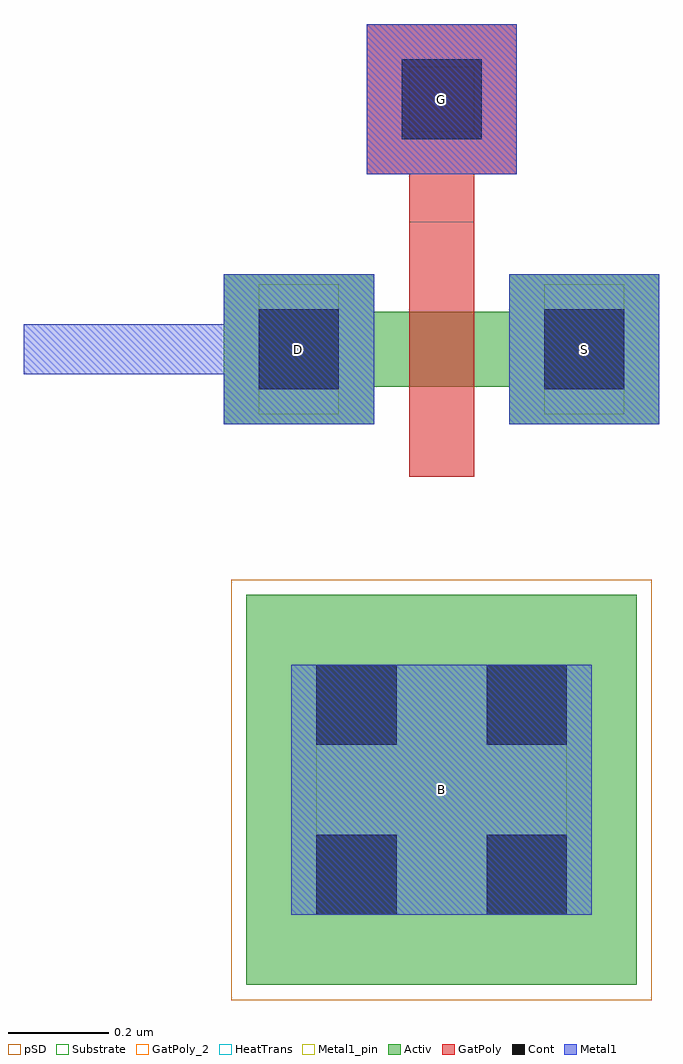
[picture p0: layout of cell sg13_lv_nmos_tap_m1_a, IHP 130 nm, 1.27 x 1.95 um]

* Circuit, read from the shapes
.subckt sg13_lv_nmos_tap_m1_a B D G S
XM1 S G D B sg13_lv_nmos w=0.15u l=0.13u
.ends

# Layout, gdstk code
from math import pi, radians
import gdstk
lib = gdstk.Library(unit=1e-6, precision=5e-09)
def R(c, l, rs):  # rectangles x0, y0, x1, y1
    for r in rs: c.add(gdstk.rectangle(r[:2], r[2:], *l))
Activ = (1, 0)
GatPoly = (5, 0)
GatPoly_2 = (5, 2)
Cont = (6, 0)
Metal1 = (8, 0)
Metal1_pin = (8, 2)
pSD = (14, 0)
Substrate = (40, 0)
HeatTrans = (51, 0)

nmos = lib.new_cell('nmos')
R(nmos, Activ, [(0,0,0.3,0.3), (0.57,0,0.87,0.3), (0,0.075,0.87,0.225)])
R(nmos, GatPoly, [(0.37,-0.105,0.5,0.405)])
R(nmos, GatPoly_2, [(0.37,-0.105,0.5,0.405)])
R(nmos, Cont, [(0.07,0.07,0.23,0.23), (0.64,0.07,0.8,0.23)])
R(nmos, Metal1, [(0.07,0.02,0.23,0.28), (0.64,0.02,0.8,0.28)])
R(nmos, Metal1_pin, [(0.07,0.02,0.23,0.28), (0.64,0.02,0.8,0.28)])
R(nmos, HeatTrans, [(0.37,-0.105,0.5,0.405)])
nmos.add(gdstk.Label('nmos', (0.435,0.15), layer=63, texttype=0))
nmos.add(gdstk.Label('nmos', (0.435,0.15), layer=51, texttype=0))

ptap1 = lib.new_cell('ptap1')
R(ptap1, Activ, [(0,0,0.78,0.78)])
R(ptap1, Cont, [(0.14,0.14,0.3,0.3), (0.48,0.14,0.64,0.3), (0.14,0.48,0.3,0.64), (0.48,0.48,0.64,0.64)])
R(ptap1, Metal1, [(0.14,0.09,0.64,0.69), (0.14,0.14,0.64,0.64)])
R(ptap1, Metal1_pin, [(0.14,0.14,0.64,0.64)])
R(ptap1, pSD, [(-0.03,-0.03,0.81,0.81)])
R(ptap1, Substrate, [(0,0,0.78,0.78)])
ptap1.add(gdstk.Label('sub!', (0.39,0.01), layer=63, texttype=0))
ptap1.add(gdstk.Label('sub!', (0.39,0.01), layer=40, texttype=0))

via = lib.new_cell('Via')
R(via, GatPoly, [(-0.15,-0.15,0.15,0.15)])
R(via, Cont, [(-0.08,-0.08,0.08,0.08)])
R(via, Metal1, [(-0.13,-0.08,0.13,0.08)])

sg13_lv_nmos_tap_m1_a = lib.new_cell('sg13_lv_nmos_tap_m1_a')
R(sg13_lv_nmos_tap_m1_a, GatPoly, [(0.37,0.405,0.5,0.5)])
R(sg13_lv_nmos_tap_m1_a, Metal1, [(0,0,0.3,0.3), (0.57,0,0.87,0.3), (-0.4,0.1,0,0.2), (0.285,0.5,0.585,0.8)])
R(sg13_lv_nmos_tap_m1_a, Metal1_pin, [(0.37,-0.795,0.5,-0.665), (0.085,0.085,0.215,0.215), (0.655,0.085,0.785,0.215), (0.37,0.585,0.5,0.715)])
sg13_lv_nmos_tap_m1_a.add(gdstk.Reference(nmos, (0,0)))
sg13_lv_nmos_tap_m1_a.add(gdstk.Reference(ptap1, (0.045,-0.34), rotation=3*pi/2))
sg13_lv_nmos_tap_m1_a.add(gdstk.Reference(via, (0.435,0.65), rotation=3*pi/2))
sg13_lv_nmos_tap_m1_a.add(gdstk.Label('G', (0.435,0.65), layer=8, texttype=25))
sg13_lv_nmos_tap_m1_a.add(gdstk.Label('B', (0.435,-0.73), layer=8, texttype=25))
sg13_lv_nmos_tap_m1_a.add(gdstk.Label('D', (0.15,0.15), layer=8, texttype=25))
sg13_lv_nmos_tap_m1_a.add(gdstk.Label('S', (0.72,0.15), layer=8, texttype=25))

lib.write_gds('sg13_lv_nmos_tap_m1_a.gds')
